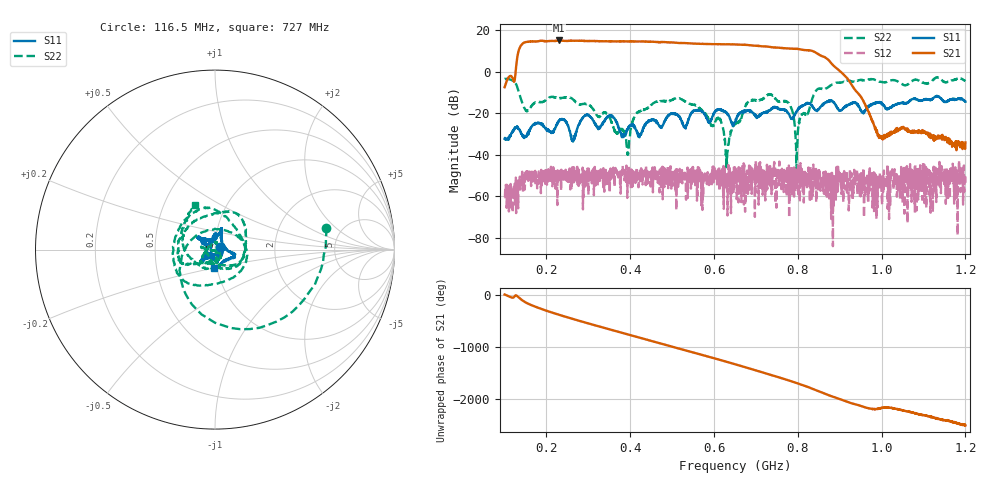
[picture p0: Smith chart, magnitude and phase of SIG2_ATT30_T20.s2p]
# Hz S DB R 50
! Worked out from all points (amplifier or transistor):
!   1601 points, 100 MHz to 1.2 GHz, reference 50 ohm
!   highest |S21| = 15.1 dB at 230.6 MHz (marker M1)
!   |S21| within 3 dB of that: 137.1 MHz to 728.2 MHz (591.1 MHz wide, 137 % of centre) (the widest 1 of 2)
!   unconditionally stable (mu >= 1): start of sweep to end of sweep
!   at 282.9 MHz: K = 32.39, MAG = 15.1 dB, |S12| = -51.5 dB
!   at 650 MHz: K = 22.16, MAG = 13.2 dB, |S12| = -46.1 dB
!   at 1.2 GHz: K = 7523.34, MAG = -32.0 dB, |S12| = -53.6 dB
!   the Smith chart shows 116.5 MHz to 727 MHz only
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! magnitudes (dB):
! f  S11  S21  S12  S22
! 100 MHz  -32.4  -7.5  -60.4  -3.5
! 122 MHz  -28.4  -4.7  -58.4  -4.6
! 144 MHz  -31.3  13.7  -58.3  -16.0
! 230.6 MHz  -23.5  15.1  -50.1  -12.7
! 263.6 MHz  -33.6  15.0  -52.2  -13.4
! 283.6 MHz  -23.0  14.9  -48.4  -15.7
! 342.7 MHz  -22.2  14.6  -50.7  -19.9
! 393.6 MHz  -27.9  14.6  -47.7  -40.0
! 414.2 MHz  -28.0  14.6  -49.1  -20.3
! 467.1 MHz  -25.4  14.3  -51.3  -14.2
! 611.5 MHz  -18.2  13.3  -54.3  -22.0
! 630.8 MHz  -20.2  13.2  -56.6  -44.2
! 650 MHz  -24.1  13.1  -46.1  -25.1
! 683 MHz  -18.8  12.8  -53.1  -14.3
! 734.6 MHz  -18.3  11.9  -48.1  -10.9
! 779.9 MHz  -20.9  11.2  -49.9  -15.6
! 797.8 MHz  -19.1  11.0  -47.3  -38.5
! 833.6 MHz  -16.1  10.1  -60.2  -13.6
! 918.1 MHz  -16.2  -3.2  -50.6  -4.3
! 995.1 MHz  -14.6  -31.1  -54.4  -4.7
! 1.017 GHz  -17.5  -29.8  -49.0  -4.5
! 1.2 GHz  -14.5  -34.1  -53.6  -4.5
